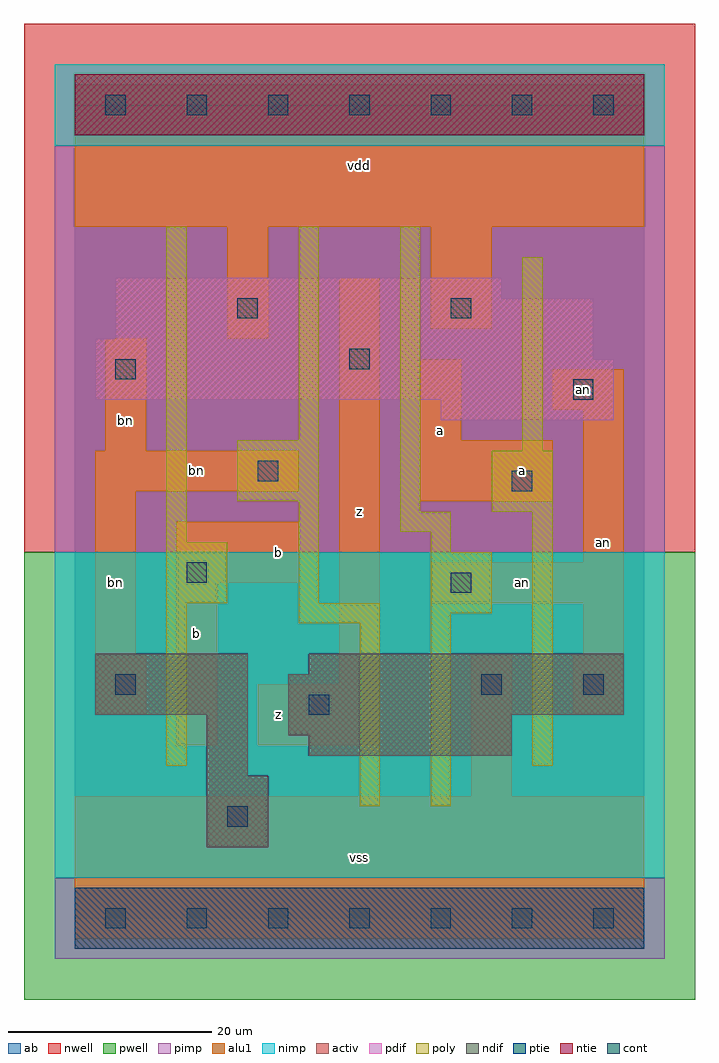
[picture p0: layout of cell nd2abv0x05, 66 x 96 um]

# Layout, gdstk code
import gdstk
lib = gdstk.Library(unit=1e-6, precision=1e-09)
def R(c, l, rs):  # rectangles x0, y0, x1, y1
    for r in rs: c.add(gdstk.rectangle(r[:2], r[2:], *l))
def A(c, l, x, y, w, h, nx, ny, dx, dy):  # array of equal rectangles
    R(c, l, [(x+i*dx, y+j*dy, x+i*dx+w, y+j*dy+h) for i in range(nx) for j in range(ny)])
ndif = (3, 0)
pdif = (4, 0)
ntie = (5, 0)
ptie = (6, 0)
cont = (25, 0)
pwell = (41, 0)
nwell = (42, 0)
activ = (43, 0)
pimp = (44, 0)
nimp = (45, 0)
poly = (46, 0)
alu1 = (49, 0)
ab = (63, 0)

nd2abv0x05 = lib.new_cell('nd2abv0x05')
R(nd2abv0x05, ndif, [(13,7,19,14), (13,14,17,20), (23,16,43,18), (21,18,43,20), (2,20,17,26), (21,20,54,24), (23,24,54,26)])
R(nd2abv0x05, pdif, [(36,49,53,51), (2,51,53,55), (2,55,51,57), (4,57,51,61), (4,61,42,63)])
R(nd2abv0x05, ntie, [(0,77,56,83)])
R(nd2abv0x05, ptie, [(0,-3,56,3)])
A(nd2abv0x05, cont, 3, -1, 2, 2, 7, 2, 8, 80)
R(nd2abv0x05, cont, [(15,9,17,11), (23,20,25,22), (4,22,6,24), (40,22,42,24), (50,22,52,24), (37,32,39,34), (11,33,13,35), (43,42,45,44), (18,43,20,45), (49,51,51,53), (4,53,6,55), (27,54,29,56), (16,59,18,61), (37,59,39,61)])
R(nd2abv0x05, pwell, [(-5,-8,61,36)])
R(nd2abv0x05, nwell, [(-5,36,61,88)])
R(nd2abv0x05, activ, [(0,-3,56,3), (13,7,19,14), (13,14,17,20), (23,16,43,18), (21,18,43,20), (2,20,17,26), (21,20,54,24), (23,24,54,26), (36,49,53,51), (2,51,53,55), (2,55,51,57), (4,57,51,61), (4,61,42,63), (0,77,56,83)])
R(nd2abv0x05, pimp, [(-2,-4,58,4), (-2,36,58,76)])
R(nd2abv0x05, nimp, [(-2,4,58,36), (-2,76,58,84)])
R(nd2abv0x05, poly, [(28,11,30,29), (35,11,37,30), (9,15,11,31), (45,15,47,40), (22,29,30,31), (35,30,41,36), (9,31,15,37), (22,31,24,41), (35,36,37,38), (9,37,11,68), (32,38,37,40), (32,40,34,68), (41,40,47,46), (16,41,24,47), (44,46,46,65), (22,47,24,68)])
R(nd2abv0x05, alu1, [(0,-2,56,12), (39,12,43,26), (10,17,14,33), (18,17,30,23), (2,20,7,26), (49,20,54,26), (26,23,30,63), (2,26,6,42), (50,26,54,31), (35,31,54,35), (10,33,22,39), (50,35,54,50), (34,41,47,47), (2,42,22,46), (3,46,7,57), (34,47,38,55), (47,50,54,54), (15,57,19,68), (35,58,41,68), (0,68,56,82)])
R(nd2abv0x05, ab, [(0,0,56,80)])
nd2abv0x05.add(gdstk.Label('bn', (5,49), layer=49, texttype=0))
nd2abv0x05.add(gdstk.Label('bn', (4,33), layer=49, texttype=0))
nd2abv0x05.add(gdstk.Label('bn', (12,44), layer=49, texttype=0))
nd2abv0x05.add(gdstk.Label('an', (44,33), layer=49, texttype=0))
nd2abv0x05.add(gdstk.Label('an', (52,37), layer=49, texttype=0))
nd2abv0x05.add(gdstk.Label('an', (50,52), layer=49, texttype=0))
nd2abv0x05.add(gdstk.Label('z', (20,20), layer=49, texttype=0))
nd2abv0x05.add(gdstk.Label('b', (12,28), layer=49, texttype=0))
nd2abv0x05.add(gdstk.Label('b', (20,36), layer=49, texttype=0))
nd2abv0x05.add(gdstk.Label('vss', (28,6), layer=49, texttype=0))
nd2abv0x05.add(gdstk.Label('z', (28,40), layer=49, texttype=0))
nd2abv0x05.add(gdstk.Label('a', (36,48), layer=49, texttype=0))
nd2abv0x05.add(gdstk.Label('vdd', (28,74), layer=49, texttype=0))
nd2abv0x05.add(gdstk.Label('a', (44,44), layer=49, texttype=0))

lib.write_gds('nd2abv0x05.gds')
